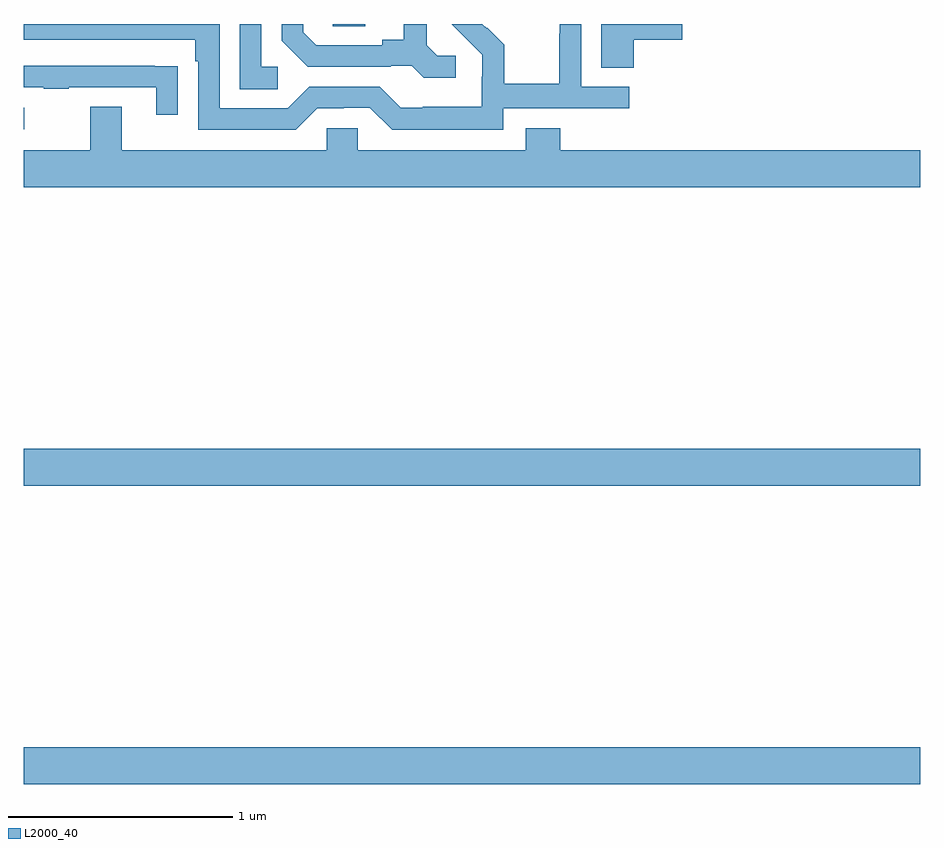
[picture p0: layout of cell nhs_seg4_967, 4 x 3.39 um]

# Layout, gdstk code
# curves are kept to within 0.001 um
import gdstk
lib = gdstk.Library(unit=1e-6, precision=1e-09)
def R(c, l, rs):  # rectangles x0, y0, x1, y1
    for r in rs: c.add(gdstk.rectangle(r[:2], r[2:], *l))
def P(c, l, *ps):  # polygons
    for p in ps: c.add(gdstk.Polygon(p, *l))
L2000_40 = (2000, 40)

nhs_seg4_967 = lib.new_cell('nhs_seg4_967')
R(nhs_seg4_967, L2000_40, [(161,775.508,165,775.672), (161,776.84,165,777.004), (161,778.431,161.002,778.527), (162.378,778.891,162.523,778.9)])
P(nhs_seg4_967, L2000_40, [(163.14,778.524),(163.702,778.524),(163.702,778.62),(163.488,778.62),(163.488,778.9),(163.392,778.9),(163.392,778.856),(163.39,778.856),(163.39,778.633),(163.145,778.633),(163.145,778.807),(163.068,778.884),(163.065,778.881),(163.046,778.9),(162.91,778.9),(163.046,778.762),(163.046,778.665),(163.044,778.665),(163.044,778.531),(162.781,778.531),(162.781,778.527),(162.681,778.527),(162.588,778.62),(162.273,778.62),(162.177,778.524),(161.874,778.524),(161.874,778.9),(161,778.9),(161,778.83),(161.765,778.83),(161.765,778.733),(161.778,778.733),(161.778,778.428),(162.213,778.428),(162.309,778.524),(162.428,778.524),(162.428,778.527),(162.543,778.527),(162.643,778.427),(163.14,778.427)],
  [(163.721,778.829),(163.939,778.829),(163.939,778.9),(163.577,778.9),(163.577,778.705),(163.721,778.705)],
  [(162.133,778.71),(162.06,778.71),(162.06,778.9),(161.964,778.9),(161.964,778.609),(162.133,778.609)],
  [(162.928,778.758),(162.846,778.758),(162.799,778.805),(162.799,778.9),(162.695,778.9),(162.695,778.829),(162.599,778.829),(162.599,778.806),(162.304,778.806),(162.247,778.863),(162.247,778.9),(162.15,778.9),(162.15,778.826),(162.266,778.71),(162.638,778.71),(162.638,778.713),(162.732,778.713),(162.784,778.661),(162.928,778.661)],
  [(161.687,778.712),(161.585,778.712),(161.585,778.713),(161,778.713),(161,778.617),(161.089,778.617),(161.089,778.612),(161.201,778.612),(161.201,778.617),(161.591,778.617),(161.591,778.494),(161.687,778.494)],
  [(165,778.336),(163.394,778.336),(163.394,778.435),(163.241,778.435),(163.241,778.336),(162.489,778.336),(162.489,778.434),(162.351,778.434),(162.351,778.336),(161.437,778.336),(161.437,778.531),(161.297,778.531),(161.297,778.336),(161,778.336),(161,778.172),(165,778.172)])

lib.write_gds('nhs_seg4_967.gds')
